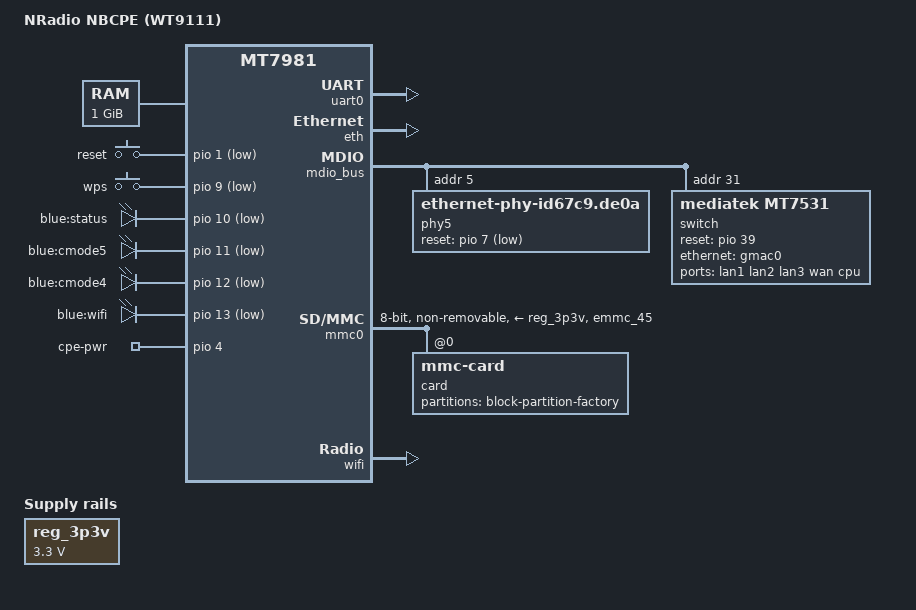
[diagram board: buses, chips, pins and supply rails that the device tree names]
// SPDX-License-Identifier: (GPL-2.0 OR MIT)
/*
 * NRadio NBCPE (WT9111) — MT7981A + MT7531 + MaxLinear GPY115 (2.5G WAN) + 8 GB eMMC
 * + on-board TD Tech MT5700M-CN 5G modem (USB NCM).
 *
 * The stock bootloader boots the second system from PARTLABEL=kernel_2nd with
 * this DTB and root=PARTLABEL=rootfs_2nd (squashfs + f2fs rootdisk overlay).
 * Factory data (WiFi EEPROM on PARTLABEL=factory, board info on PARTLABEL=bdinfo)
 * stays in the factory GPT layout and is only read.
 */

/dts-v1/;
#include <dt-bindings/gpio/gpio.h>
#include <dt-bindings/input/linux-event-codes.h>
#include "mt7981b.dtsi"

/ {
	model = "NRadio NBCPE (WT9111)";
	compatible = "nradio,nbcpe", "mediatek,mt7981";

	aliases {
		serial0 = &uart0;
		led-boot = &led_status;
		led-failsafe = &led_status;
		led-running = &led_status;
		led-upgrade = &led_status;
	};

	chosen {
		stdout-path = &uart0;
		bootargs = "console=ttyS0,115200n1 loglevel=8 earlycon=uart8250,mmio32,0x11002000 root=PARTLABEL=rootfs_2nd rootfstype=squashfs,f2fs rootwait";
	};

	memory@40000000 {
		device_type = "memory";
		reg = <0x0 0x40000000 0x0 0x40000000>;
	};

	gpio-keys {
		compatible = "gpio-keys";

		button-reset {
			label = "reset";
			linux,input-type = <EV_KEY>;
			linux,code = <KEY_RESTART>;
			gpios = <&pio 1 GPIO_ACTIVE_LOW>;
		};

		button-wps {
			label = "wps";
			linux,input-type = <EV_KEY>;
			linux,code = <KEY_WPS_BUTTON>;
			gpios = <&pio 9 GPIO_ACTIVE_LOW>;
		};
	};

	gpio-leds {
		compatible = "gpio-leds";

		led_status: led-status {
			label = "blue:status";
			gpios = <&pio 10 GPIO_ACTIVE_LOW>;
		};

		led-cmode5 {
			label = "blue:cmode5";
			gpios = <&pio 11 GPIO_ACTIVE_LOW>;
		};

		led-cmode4 {
			label = "blue:cmode4";
			gpios = <&pio 12 GPIO_ACTIVE_LOW>;
		};

		led-wifi {
			label = "blue:wifi";
			gpios = <&pio 13 GPIO_ACTIVE_LOW>;
			linux,default-trigger = "phy0assoc";
		};
	};

	reg_3p3v: regulator-3p3v {
		compatible = "regulator-fixed";
		regulator-name = "fixed-3.3V";
		regulator-min-microvolt = <3300000>;
		regulator-max-microvolt = <3300000>;
		regulator-boot-on;
		regulator-always-on;
	};

	/* Modem full power path control (TD Tech MT5700M-CN), 1 = powered. */
	gpio-export {
		compatible = "gpio-export";

		cpepower {
			gpio-export,name = "cpe-pwr";
			gpio-export,output = <1>;
			gpios = <&pio 4 GPIO_ACTIVE_HIGH>;
		};
	};
};

&uart0 {
	status = "okay";
};

&pio {
	mmc0_pins_default: mmc0-pins-default {
		mux {
			function = "flash";
			groups = "emmc_45";
		};
	};

	mmc0_pins_uhs: mmc0-pins-uhs {
		mux {
			function = "flash";
			groups = "emmc_45";
		};
	};
};

&eth {
	status = "okay";

	gmac0: mac@0 {
		compatible = "mediatek,eth-mac";
		reg = <0>;
		phy-mode = "2500base-x";

		fixed-link {
			speed = <2500>;
			full-duplex;
			pause;
		};
	};
};

&mdio_bus {
	phy5: ethernet-phy@5 {
		compatible = "ethernet-phy-id67c9.de0a";
		reg = <5>;
		reset-gpios = <&pio 7 GPIO_ACTIVE_LOW>;
		reset-assert-us = <600>;
		reset-deassert-us = <20000>;
	};

	switch: switch@31 {
		compatible = "mediatek,mt7531";
		reg = <31>;
		reset-gpios = <&pio 39 GPIO_ACTIVE_HIGH>;

		ports {
			#address-cells = <1>;
			#size-cells = <0>;

			port@1 {
				reg = <1>;
				label = "lan1";
			};

			port@2 {
				reg = <2>;
				label = "lan2";
			};

			port@3 {
				reg = <3>;
				label = "lan3";
			};

			port@5 {
				reg = <5>;
				label = "wan";
				phy-mode = "2500base-x";
				phy-handle = <&phy5>;
			};

			port@6 {
				reg = <6>;
				label = "cpu";
				ethernet = <&gmac0>;
				phy-mode = "2500base-x";

				fixed-link {
					speed = <2500>;
					full-duplex;
					pause;
				};
			};
		};
	};
};

&mmc0 {
	status = "okay";
	pinctrl-names = "default", "state_uhs";
	pinctrl-0 = <&mmc0_pins_default>;
	pinctrl-1 = <&mmc0_pins_uhs>;
	bus-width = <8>;
	max-frequency = <52000000>;
	cap-mmc-highspeed;
	vmmc-supply = <&reg_3p3v>;
	non-removable;
	no-sd;
	no-sdio;

	card@0 {
		compatible = "mmc-card";
		reg = <0>;

		block {
			compatible = "block-device";

			partitions {
				compatible = "fixed-partitions";
				#address-cells = <1>;
				#size-cells = <1>;

				/*
				 * The factory GPT is discovered by partition name; expose the
				 * WiFi EEPROM region (MT7981 header + cal data, MAC @ 0x4) of
				 * PARTLABEL=factory to mt76 as a read-only nvmem cell.
				 */
				block-partition-factory {
					partname = "factory";

					nvmem-layout {
						compatible = "fixed-layout";
						#address-cells = <1>;
						#size-cells = <1>;

						eeprom_factory_0: eeprom@0 {
							reg = <0x0 0x1000>;
						};
					};
				};
			};
		};
	};
};

&wifi {
	status = "okay";
	nvmem-cells = <&eeprom_factory_0>;
	nvmem-cell-names = "eeprom";
};
